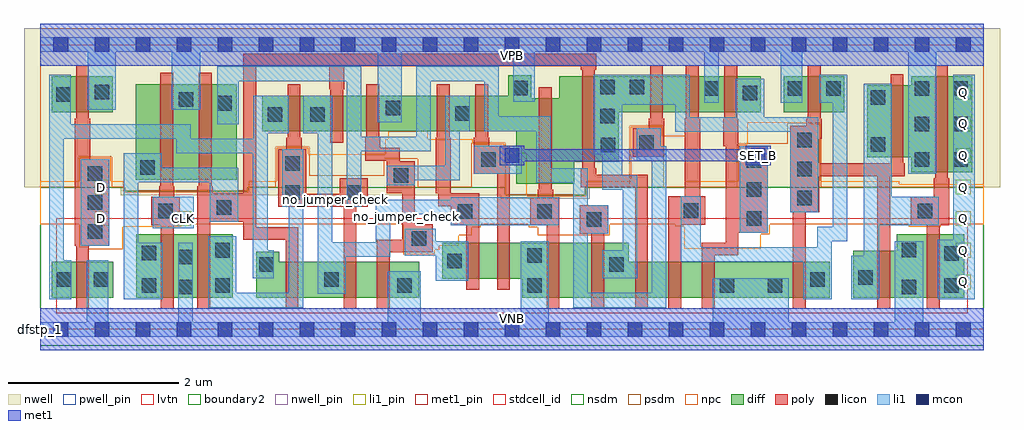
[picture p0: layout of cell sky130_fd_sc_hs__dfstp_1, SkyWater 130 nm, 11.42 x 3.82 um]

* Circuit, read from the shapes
.subckt sky130_fd_sc_hs__dfstp_1 CLK D Q SET_B VGND VNB VPB VPWR
XM1 VGND D n1 VNB sky130_fd_pr__nfet_01v8_lvt w=0.42 l=0.15
XM2 VGND CLK n2 VNB sky130_fd_pr__nfet_01v8_lvt w=0.74 l=0.15
XM3 n3 n2 VGND VNB sky130_fd_pr__nfet_01v8_lvt w=0.74 l=0.15
XM4 n4 n2 n1 VNB sky130_fd_pr__nfet_01v8_lvt w=0.42 l=0.15
XM5 n5 n3 n4 VNB sky130_fd_pr__nfet_01v8_lvt w=0.42 l=0.15
XM6 VGND n6 n5 VNB sky130_fd_pr__nfet_01v8_lvt w=0.42 l=0.15
XM7 n7 n4 n6 VNB sky130_fd_pr__nfet_01v8_lvt w=0.42 l=0.15
XM8 VGND SET_B n7 VNB sky130_fd_pr__nfet_01v8_lvt w=0.42 l=0.15
XM9 n8 n4 VGND VNB sky130_fd_pr__nfet_01v8_lvt w=0.64 l=0.15
XM10 n9 n3 n8 VNB sky130_fd_pr__nfet_01v8_lvt w=0.64 l=0.15
XM11 n10 n2 n9 VNB sky130_fd_pr__nfet_01v8_lvt w=0.42 l=0.15
XM12 n11 n12 n10 VNB sky130_fd_pr__nfet_01v8_lvt w=0.42 l=0.15
XM13 VGND SET_B n11 VNB sky130_fd_pr__nfet_01v8_lvt w=0.42 l=0.15
XM14 n12 n9 VGND VNB sky130_fd_pr__nfet_01v8_lvt w=0.42 l=0.15
XM15 VGND n9 n13 VNB sky130_fd_pr__nfet_01v8_lvt w=0.55 l=0.15
XM16 Q n13 VGND VNB sky130_fd_pr__nfet_01v8_lvt w=0.74 l=0.15
XM17 VPWR D n1 VPB sky130_fd_pr__pfet_01v8 w=0.42 l=0.15
XM18 VPWR CLK n2 VPB sky130_fd_pr__pfet_01v8 w=1.12 l=0.15
XM19 n3 n2 VPWR VPB sky130_fd_pr__pfet_01v8 w=1.12 l=0.15
XM20 n4 n3 n1 VPB sky130_fd_pr__pfet_01v8 w=0.42 l=0.15
XM21 n14 n2 n4 VPB sky130_fd_pr__pfet_01v8 w=0.42 l=0.15
XM22 VPWR n6 n14 VPB sky130_fd_pr__pfet_01v8 w=0.42 l=0.15
XM23 n6 n4 VPWR VPB sky130_fd_pr__pfet_01v8 w=0.42 l=0.15
XM24 VPWR SET_B n6 VPB sky130_fd_pr__pfet_01v8 w=0.42 l=0.15
XM25 n15 n4 VPWR VPB sky130_fd_pr__pfet_01v8 w=1 l=0.15
XM26 n9 n2 n15 VPB sky130_fd_pr__pfet_01v8 w=1 l=0.15
XM27 n16 n3 n9 VPB sky130_fd_pr__pfet_01v8 w=0.42 l=0.15
XM28 VPWR n12 n16 VPB sky130_fd_pr__pfet_01v8 w=0.42 l=0.15
XM29 n9 SET_B VPWR VPB sky130_fd_pr__pfet_01v8 w=0.42 l=0.15
XM30 n12 n9 VPWR VPB sky130_fd_pr__pfet_01v8 w=0.42 l=0.15
XM31 VPWR n9 n13 VPB sky130_fd_pr__pfet_01v8 w=0.84 l=0.15
XM32 Q n13 VPWR VPB sky130_fd_pr__pfet_01v8 w=1.12 l=0.15
.ends

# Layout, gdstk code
import gdstk
lib = gdstk.Library(unit=1e-6, precision=1e-09)
def R(c, l, rs):  # rectangles x0, y0, x1, y1
    for r in rs: c.add(gdstk.rectangle(r[:2], r[2:], *l))
def A(c, l, x, y, w, h, nx, ny, dx, dy):  # array of equal rectangles
    R(c, l, [(x+i*dx, y+j*dy, x+i*dx+w, y+j*dy+h) for i in range(nx) for j in range(ny)])
def P(c, l, *ps):  # polygons
    for p in ps: c.add(gdstk.Polygon(p, *l))
nwell_pin = (64, 16)
nwell = (64, 20)
diff = (65, 20)
poly = (66, 20)
licon = (66, 44)
li1_pin = (67, 16)
li1 = (67, 20)
mcon = (67, 44)
met1_pin = (68, 16)
met1 = (68, 20)
stdcell_id = (81, 4)
nsdm = (93, 44)
psdm = (94, 20)
npc = (95, 20)
pwell_pin = (122, 16)
lvtn = (125, 44)
boundary2 = (236, 0)

sky130_fd_sc_hs__dfstp_1 = lib.new_cell('sky130_fd_sc_hs__dfstp_1')
R(sky130_fd_sc_hs__dfstp_1, nwell_pin, [(0,3.085,11.04,3.33)])
P(sky130_fd_sc_hs__dfstp_1, nwell, [(11.23,3.52),(-0.19,3.52),(-0.19,1.66),(0.94,1.66),(0.94,1.57),(5.39,1.57),(5.39,1.525),(6.43,1.525),(6.43,1.66),(11.23,1.66)])
R(sky130_fd_sc_hs__dfstp_1, diff, [(0.135,0.37,0.855,0.79), (1.125,0.37,2.255,1.11), (1.12,1.75,2.3,2.87), (0.135,2.54,0.85,2.96), (8.7,2.54,9.405,2.96)])
P(sky130_fd_sc_hs__dfstp_1, diff, [(4.435,0.79),(2.795,0.79),(2.795,0.905),(2.525,0.905),(2.525,0.37),(4.435,0.37)],
  [(8.43,2.96),(6.075,2.96),(6.075,2.705),(5.745,2.705),(5.745,2.97),(5.475,2.97),(5.475,2.735),(2.6,2.735),(2.6,2.315),(5.57,2.315),(5.57,1.705),(6.25,1.705),(6.25,1.96),(6.77,1.96),(6.77,2.54),(8.43,2.54)],
  [(9.24,0.79),(6.885,0.79),(6.885,1.01),(4.705,1.01),(4.705,0.59),(5.64,0.59),(5.64,0.37),(9.24,0.37)],
  [(10.81,1.11),(10.02,1.11),(10.02,0.92),(9.51,0.92),(9.51,0.37),(10.81,0.37)],
  [(10.905,2.96),(10.19,2.96),(10.19,2.855),(9.675,2.855),(9.675,2.015),(10.19,2.015),(10.19,1.84),(10.905,1.84)])
P(sky130_fd_sc_hs__dfstp_1, poly, [(10.635,1.765),(10.62,1.765),(10.62,3.09),(10.47,3.09),(10.47,1.765),(10.455,1.765),(10.455,1.55),(10.185,1.55),(10.185,1.22),(10.375,1.22),(10.375,0.24),(10.525,0.24),(10.525,1.22),(10.635,1.22)],
  [(10.115,1.94),(10.1,1.94),(10.1,2.985),(9.95,2.985),(9.95,1.94),(9.115,1.94),(9.115,2.23),(9.145,2.23),(9.145,2.465),(9.13,2.465),(9.13,3.09),(8.98,3.09),(8.98,2.465),(8.965,2.465),(8.965,2.38),(8.775,2.38),(8.775,1.37),(8.805,1.37),(8.805,0.24),(8.955,0.24),(8.955,1.37),(9.115,1.37),(9.115,1.79),(9.795,1.79),(9.795,0.24),(9.945,0.24),(9.945,1.79),(10.115,1.79)],
  [(8.515,2.14),(8.17,2.14),(8.17,2.465),(8.155,2.465),(8.155,3.09),(8.005,3.09),(8.005,2.465),(7.99,2.465),(7.99,2.14),(8.02,2.14),(8.02,1.015),(7.74,1.015),(7.74,0.24),(7.89,0.24),(7.89,0.865),(8.17,0.865),(8.17,1.13),(8.515,1.13)],
  [(7.78,1.555),(7.72,1.555),(7.72,2.465),(7.705,2.465),(7.705,3.09),(7.555,3.09),(7.555,2.465),(7.54,2.465),(7.54,1.555),(7.35,1.555),(7.35,0.24),(7.5,0.24),(7.5,1.225),(7.78,1.225)],
  [(7.3,2.465),(7.285,2.465),(7.285,3.09),(7.135,3.09),(7.135,2.465),(7.12,2.465),(7.12,2.35),(6.93,2.35),(6.93,2.02),(7.3,2.02)],
  [(7.11,1.81),(6.505,1.81),(6.505,1.885),(6.49,1.885),(6.49,3.035),(6.505,3.035),(6.505,3.225),(2.375,3.225),(2.375,1.59),(2.02,1.59),(2.02,1.675),(2.005,1.675),(2.005,3),(1.855,3),(1.855,1.675),(1.84,1.675),(1.84,0.24),(1.99,0.24),(1.99,1.26),(2.375,1.26),(2.375,1.045),(2.87,1.045),(2.87,0.24),(3.02,0.24),(3.02,1.195),(2.525,1.195),(2.525,3.075),(3.38,3.075),(3.38,2.81),(3.395,2.81),(3.395,2.185),(3.545,2.185),(3.545,2.81),(3.56,2.81),(3.56,3.075),(6.325,3.075),(6.325,3.035),(6.34,3.035),(6.34,1.885),(6.325,1.885),(6.325,1.66),(6.96,1.66),(6.96,0.24),(7.11,0.24)],
  [(6.645,1.45),(6.315,1.45),(6.315,1.12),(6.45,1.12),(6.45,0.24),(6.6,0.24),(6.6,1.12),(6.645,1.12)],
  [(6.075,1.545),(6,1.545),(6,1.63),(5.985,1.63),(5.985,2.835),(5.835,2.835),(5.835,1.63),(5.82,1.63),(5.82,1.545),(5.735,1.545),(5.735,1.215),(5.925,1.215),(5.925,0.24),(6.075,0.24)],
  [(5.495,2.15),(5.255,2.15),(5.255,2.24),(5.24,2.24),(5.24,2.865),(5.09,2.865),(5.09,2.24),(5.075,2.24),(5.075,1.82),(5.345,1.82),(5.345,0.46),(5.495,0.46)],
  [(5.135,1.59),(4.805,1.59),(4.805,2.24),(4.79,2.24),(4.79,2.865),(4.64,2.865),(4.64,2.24),(4.625,2.24),(4.625,1.59),(4.655,1.59),(4.655,1.44),(4.805,1.44),(4.805,1.215),(4.985,1.215),(4.985,0.46),(5.135,0.46)],
  [(4.595,1.23),(4.385,1.23),(4.385,1.965),(4.205,1.965),(4.205,2.125),(3.98,2.125),(3.98,2.24),(3.965,2.24),(3.965,2.865),(3.815,2.865),(3.815,2.24),(3.8,2.24),(3.8,1.975),(4.055,1.975),(4.055,1.59),(4.235,1.59),(4.235,1.05),(3.94,1.05),(3.94,0.24),(4.09,0.24),(4.09,0.9),(4.595,0.9)],
  [(3.835,1.765),(3.505,1.765),(3.505,1.585),(3.115,1.585),(3.115,2.105),(3.06,2.105),(3.06,2.24),(3.045,2.24),(3.045,2.865),(2.895,2.865),(2.895,2.24),(2.88,2.24),(2.88,2.105),(2.785,2.105),(2.785,1.435),(3.55,1.435),(3.55,0.24),(3.7,0.24),(3.7,1.435),(3.835,1.435)],
  [(1.63,1.55),(1.57,1.55),(1.57,1.675),(1.555,1.675),(1.555,3),(1.405,3),(1.405,1.675),(1.39,1.675),(1.39,1.55),(1.3,1.55),(1.3,1.22),(1.41,1.22),(1.41,0.24),(1.56,0.24),(1.56,1.22),(1.63,1.22)],
  [(0.805,1.99),(0.585,1.99),(0.585,2.465),(0.57,2.465),(0.57,3.09),(0.42,3.09),(0.42,2.465),(0.405,2.465),(0.405,0.98),(0.42,0.98),(0.42,0.24),(0.57,0.24),(0.57,0.98),(0.805,0.98)])
A(sky130_fd_sc_hs__dfstp_1, licon, 0.555, 1.06, 0.17, 0.17, 1, 3, 0, 0.34)
A(sky130_fd_sc_hs__dfstp_1, licon, 8.265, 1.21, 0.17, 0.17, 1, 3, 0, 0.34)
A(sky130_fd_sc_hs__dfstp_1, licon, 8.855, 1.45, 0.17, 0.17, 1, 3, 0, 0.34)
A(sky130_fd_sc_hs__dfstp_1, licon, 10.235, 1.9, 0.17, 0.17, 1, 3, 0, 0.415)
A(sky130_fd_sc_hs__dfstp_1, licon, 10.685, 1.9, 0.17, 0.17, 1, 3, 0, 0.415)
R(sky130_fd_sc_hs__dfstp_1, licon, [(1.615,0.41,1.785,0.58), (10.08,0.41,10.25,0.58), (1.185,0.43,1.355,0.6), (2.045,0.43,2.215,0.6), (4.175,0.43,4.345,0.6), (5.7,0.43,5.87,0.6), (7.95,0.43,8.12,0.6), (8.51,0.43,8.68,0.6), (10.58,0.43,10.75,0.6), (0.195,0.495,0.365,0.665), (0.625,0.495,0.795,0.665), (3.325,0.495,3.495,0.665), (9.01,0.495,9.18,0.665), (9.57,0.52,9.74,0.69), (2.565,0.675,2.735,0.845), (6.655,0.675,6.825,0.845), (4.76,0.715,4.93,0.885), (1.615,0.76,1.785,0.93), (5.7,0.78,5.87,0.95), (10.58,0.8,10.75,0.97), (1.185,0.81,1.355,0.98), (2.045,0.84,2.215,1.01), (10.08,0.845,10.25,1.015), (4.345,0.98,4.515,1.15), (6.395,1.2,6.565,1.37), (4.885,1.295,5.055,1.465), (5.815,1.295,5.985,1.465), (1.38,1.3,1.55,1.47), (10.265,1.3,10.435,1.47), (7.53,1.305,7.7,1.475), (2.065,1.34,2.235,1.51), (2.865,1.515,3.035,1.685), (3.585,1.515,3.755,1.685), (4.135,1.715,4.305,1.885), (1.17,1.81,1.34,1.98), (2.865,1.855,3.035,2.025), (5.16,1.9,5.33,2.07), (6.56,2.07,6.73,2.24), (9.715,2.075,9.885,2.245), (7.01,2.1,7.18,2.27), (6.555,2.41,6.725,2.58), (2.66,2.43,2.83,2.6), (3.16,2.43,3.33,2.6), (4.855,2.44,5.025,2.61), (4.045,2.505,4.215,2.675), (2.07,2.56,2.24,2.73), (1.62,2.605,1.79,2.775), (9.715,2.625,9.885,2.795), (0.185,2.665,0.355,2.835), (8.22,2.68,8.39,2.85), (0.635,2.69,0.805,2.86), (7.77,2.73,7.94,2.9), (8.745,2.73,8.915,2.9), (9.195,2.73,9.365,2.9), (5.535,2.74,5.705,2.91), (6.555,2.75,6.725,2.92), (6.9,2.75,7.07,2.92)])
A(sky130_fd_sc_hs__dfstp_1, li1_pin, 10.715, 0.47, 0.17, 0.17, 1, 7, 0, 0.37)
R(sky130_fd_sc_hs__dfstp_1, li1_pin, [(0.635,1.21,0.805,1.38), (1.595,1.21,1.765,1.38), (0.635,1.58,0.805,1.75)])
R(sky130_fd_sc_hs__dfstp_1, li1, [(0.475,0.98,0.805,1.99), (8.185,1.13,8.515,2.14), (1.315,1.18,1.795,1.55), (5.08,1.82,5.635,2.15)])
P(sky130_fd_sc_hs__dfstp_1, li1, [(0,-0.085),(0,0.085),(0.545,0.085),(0.545,0.81),(0.795,0.81),(0.795,0.085),(1.615,0.085),(1.615,1.01),(1.785,1.01),(1.785,0.085),(4.065,0.085),(4.065,0.68),(4.455,0.68),(4.455,0.085),(5.62,0.085),(5.62,1.03),(5.95,1.03),(5.95,0.085),(7.87,0.085),(7.87,0.6),(8.76,0.6),(8.76,0.085),(10,0.085),(10,1.03),(10.33,1.03),(10.33,0.085),(11.04,0.085),(11.04,-0.085)],
  [(0,3.245),(0,3.415),(11.04,3.415),(11.04,3.245),(10.485,3.245),(10.485,1.82),(10.155,1.82),(10.155,3.245),(8.915,3.245),(8.915,2.65),(8.665,2.65),(8.665,3.245),(7.94,3.245),(7.94,2.65),(7.77,2.65),(7.77,3.245),(5.785,3.245),(5.785,2.66),(5.535,2.66),(5.535,3.245),(4.23,3.245),(4.23,2.425),(3.95,2.425),(3.95,3.245),(1.87,3.245),(1.87,2.57),(1.54,2.57),(1.54,3.245),(0.885,3.245),(0.885,2.57),(0.555,2.57),(0.555,3.245)],
  [(10.685,1.05),(10.685,2.98),(10.935,2.98),(10.935,0.35),(10.5,0.35),(10.5,1.05)],
  [(1.42,1.89),(2.315,1.89),(2.315,1.26),(1.985,1.26),(1.985,1.72),(1.145,1.72),(1.145,1.01),(1.435,1.01),(1.435,0.35),(0.975,0.35),(0.975,2.06),(1.42,2.06)],
  [(1.59,2.06),(1.59,2.23),(0.275,2.23),(0.275,0.81),(0.365,0.81),(0.365,0.35),(0.105,0.35),(0.105,2.98),(0.355,2.98),(0.355,2.4),(1.76,2.4),(1.76,2.23),(2.49,2.23),(2.49,2.735),(2.91,2.735),(2.91,2.295),(2.66,2.295),(2.66,0.925),(2.735,0.925),(2.735,0.595),(2.485,0.595),(2.485,2.06)],
  [(7.495,0.79),(7.495,1.555),(7.73,1.555),(7.73,0.96),(9.09,0.96),(9.09,1.2),(9.275,1.2),(9.275,2.65),(9.115,2.65),(9.115,2.98),(9.445,2.98),(9.445,1.03),(9.26,1.03),(9.26,0.35),(8.93,0.35),(8.93,0.79)],
  [(6.475,2.98),(7.6,2.98),(7.6,2.48),(8.14,2.48),(8.14,2.93),(8.47,2.93),(8.47,2.48),(9.105,2.48),(9.105,1.37),(8.775,1.37),(8.775,2.31),(7.43,2.31),(7.43,2.625),(6.81,2.625),(6.81,1.8),(6.985,1.8),(6.985,0.595),(6.575,0.595),(6.575,0.925),(6.815,0.925),(6.815,1.63),(6.575,1.63),(6.575,2.05),(6.475,2.05)],
  [(9.635,2.875),(9.965,2.875),(9.965,1.55),(10.515,1.55),(10.515,1.22),(9.82,1.22),(9.82,0.35),(9.49,0.35),(9.49,0.86),(9.635,0.86)],
  [(4.265,0.86),(4.265,1.175),(4.625,1.175),(4.625,1.03),(5.01,1.03),(5.01,0.57),(4.625,0.57),(4.625,0.86)],
  [(3.585,2.905),(2.32,2.905),(2.32,2.4),(2.07,2.4),(2.07,3.075),(3.755,3.075),(3.755,2.255),(4.4,2.255),(4.4,3.075),(5.365,3.075),(5.365,2.49),(5.975,2.49),(5.975,1.885),(6.405,1.885),(6.405,1.45),(6.645,1.45),(6.645,1.12),(6.405,1.12),(6.405,0.425),(7.155,0.425),(7.155,1.97),(6.98,1.97),(6.98,2.355),(7.26,2.355),(7.26,2.14),(7.325,2.14),(7.325,0.255),(6.235,0.255),(6.235,1.715),(5.805,1.715),(5.805,2.32),(5.195,2.32),(5.195,2.905),(4.57,2.905),(4.57,2.085),(3.755,2.085),(3.755,1.435),(3.585,1.435)],
  [(4.91,1.745),(4.385,1.745),(4.385,1.685),(4.055,1.685),(4.055,1.915),(4.74,1.915),(4.74,2.735),(5.025,2.735),(5.025,2.32),(4.91,2.32)],
  [(2.905,0.425),(2.905,1.435),(2.83,1.435),(2.83,2.105),(3.075,2.105),(3.075,0.255),(1.965,0.255),(1.965,1.09),(2.295,1.09),(2.295,0.425)],
  [(3.245,2.295),(3.08,2.295),(3.08,2.735),(3.415,2.735),(3.415,1.02),(3.925,1.02),(3.925,1.515),(4.805,1.515),(4.805,1.545),(6.065,1.545),(6.065,1.215),(4.805,1.215),(4.805,1.345),(4.095,1.345),(4.095,0.85),(3.575,0.85),(3.575,0.415),(3.245,0.415)])
A(sky130_fd_sc_hs__dfstp_1, mcon, 0.155, -0.085, 0.17, 0.17, 23, 2, 0.48, 3.33)
R(sky130_fd_sc_hs__dfstp_1, mcon, [(5.435,1.95,5.605,2.12), (8.315,1.95,8.485,2.12)])
R(sky130_fd_sc_hs__dfstp_1, met1_pin, [(0,0,11.04,0.245), (8.315,1.95,8.485,2.12), (0,3.085,11.04,3.33)])
R(sky130_fd_sc_hs__dfstp_1, met1, [(0,-0.245,11.04,0.245), (0,3.085,11.04,3.575)])
P(sky130_fd_sc_hs__dfstp_1, met1, [(5.665,2.105),(8.255,2.105),(8.255,2.15),(8.545,2.15),(8.545,1.92),(8.255,1.92),(8.255,1.965),(5.665,1.965),(5.665,1.92),(5.375,1.92),(5.375,2.15),(5.665,2.15)])
R(sky130_fd_sc_hs__dfstp_1, stdcell_id, [(0,0,11.04,3.33)])
P(sky130_fd_sc_hs__dfstp_1, nsdm, [(11.04,1.66),(6.38,1.66),(6.38,1.575),(5.44,1.575),(5.44,1.66),(2.43,1.66),(2.43,1.62),(0.99,1.62),(0.99,1.66),(0,1.66),(0,-0.19),(11.04,-0.19)])
P(sky130_fd_sc_hs__dfstp_1, psdm, [(11.04,3.52),(0,3.52),(0,1.66),(0.445,1.66),(0.445,2.02),(0.835,2.02),(0.835,1.66),(0.99,1.66),(0.99,1.62),(2.43,1.62),(2.43,1.66),(2.755,1.66),(2.755,2.135),(3.145,2.135),(3.145,1.795),(4.025,1.795),(4.025,1.995),(4.415,1.995),(4.415,1.66),(5.05,1.66),(5.05,2.18),(5.44,2.18),(5.44,1.575),(6.38,1.575),(6.38,1.66),(6.9,1.66),(6.9,2.38),(7.29,2.38),(7.29,1.66),(8.155,1.66),(8.155,2.17),(8.745,2.17),(8.745,2.41),(9.135,2.41),(9.135,1.66),(11.04,1.66)])
P(sky130_fd_sc_hs__dfstp_1, npc, [(11.04,1.7),(10.05,1.7),(10.05,1.73),(9.125,1.73),(9.125,2.4),(9.02,2.4),(9.02,2.425),(8.27,2.425),(8.27,2.16),(8.165,2.16),(8.165,1.73),(7.545,1.73),(7.545,2.265),(7.28,2.265),(7.28,2.37),(6.91,2.37),(6.91,1.73),(6.39,1.73),(6.39,1.565),(5.695,1.565),(5.695,2.065),(5.43,2.065),(5.43,2.17),(5.06,2.17),(5.06,2.225),(4.535,2.225),(4.535,2.315),(4.07,2.315),(4.07,2.225),(4.035,2.225),(4.035,2.05),(3.135,2.05),(3.135,2.125),(2.765,2.125),(2.765,1.73),(2.44,1.73),(2.44,1.61),(0.98,1.61),(0.98,1.73),(0.825,1.73),(0.825,2.01),(0.455,2.01),(0.455,1.73),(0,1.73),(0,1.23),(0.455,1.23),(0.455,0.96),(0.56,0.96),(0.56,0.935),(0.965,0.935),(0.965,1.2),(1.65,1.2),(1.65,1.23),(4.245,1.23),(4.245,0.88),(4.615,0.88),(4.615,0.93),(4.67,0.93),(4.67,0.975),(4.895,0.975),(4.895,1.1),(5.05,1.1),(5.05,1.195),(5.155,1.195),(5.155,1.23),(5.715,1.23),(5.715,1.195),(5.82,1.195),(5.82,1.1),(6.665,1.1),(6.665,1.23),(7.43,1.23),(7.43,1.205),(7.535,1.205),(7.535,0.94),(8.43,0.94),(8.43,1.11),(8.535,1.11),(8.535,1.23),(10.165,1.23),(10.165,1.2),(10.535,1.2),(10.535,1.23),(11.04,1.23)])
R(sky130_fd_sc_hs__dfstp_1, pwell_pin, [(0,0,11.04,0.245)])
R(sky130_fd_sc_hs__dfstp_1, lvtn, [(0.19,0.19,10.85,1.3)])
R(sky130_fd_sc_hs__dfstp_1, boundary2, [(0,0,11.04,3.33)])
sky130_fd_sc_hs__dfstp_1.add(gdstk.Label('dfstp_1', (0,0), layer=83, texttype=44))
sky130_fd_sc_hs__dfstp_1.add(gdstk.Label('no_jumper_check', (4.29,1.325), layer=83, texttype=44))
sky130_fd_sc_hs__dfstp_1.add(gdstk.Label('no_jumper_check', (3.455,1.52), layer=83, texttype=44))
sky130_fd_sc_hs__dfstp_1.add(gdstk.Label('VNB', (5.52,0.123), layer=64, texttype=59))
sky130_fd_sc_hs__dfstp_1.add(gdstk.Label('VPB', (5.52,3.208), layer=64, texttype=5))
sky130_fd_sc_hs__dfstp_1.add(gdstk.Label('SET_B', (8.4,2.035), layer=68, texttype=5))
sky130_fd_sc_hs__dfstp_1.add(gdstk.Label('VPWR', (5.52,3.208), layer=68, texttype=5))
sky130_fd_sc_hs__dfstp_1.add(gdstk.Label('VGND', (5.52,0.123), layer=68, texttype=5))
sky130_fd_sc_hs__dfstp_1.add(gdstk.Label('Q', (10.8,0.555), layer=67, texttype=5))
sky130_fd_sc_hs__dfstp_1.add(gdstk.Label('Q', (10.8,0.925), layer=67, texttype=5))
sky130_fd_sc_hs__dfstp_1.add(gdstk.Label('Q', (10.8,1.295), layer=67, texttype=5))
sky130_fd_sc_hs__dfstp_1.add(gdstk.Label('Q', (10.8,1.665), layer=67, texttype=5))
sky130_fd_sc_hs__dfstp_1.add(gdstk.Label('Q', (10.8,2.035), layer=67, texttype=5))
sky130_fd_sc_hs__dfstp_1.add(gdstk.Label('Q', (10.8,2.405), layer=67, texttype=5))
sky130_fd_sc_hs__dfstp_1.add(gdstk.Label('Q', (10.8,2.775), layer=67, texttype=5))
sky130_fd_sc_hs__dfstp_1.add(gdstk.Label('D', (0.72,1.295), layer=67, texttype=5))
sky130_fd_sc_hs__dfstp_1.add(gdstk.Label('D', (0.72,1.665), layer=67, texttype=5))
sky130_fd_sc_hs__dfstp_1.add(gdstk.Label('CLK', (1.68,1.295), layer=67, texttype=5))

lib.write_gds('sky130_fd_sc_hs__dfstp_1.gds')
